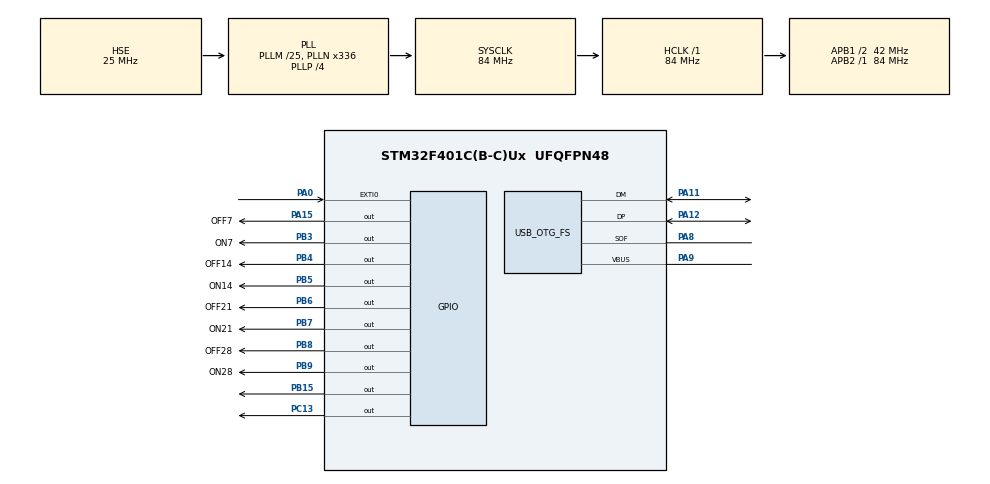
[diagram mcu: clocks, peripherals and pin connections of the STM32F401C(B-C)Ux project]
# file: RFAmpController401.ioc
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Mcu.Family=STM32F4
Mcu.Name=STM32F401C(B-C)Ux
Mcu.Package=UFQFPN48
NVIC.EXTI0_IRQn=true\:0\:0\:false\:false\:true\:true\:true\:true
NVIC.OTG_FS_IRQn=true\:0\:0\:false\:false\:true\:false\:true\:true
NVIC.PriorityGroup=NVIC_PRIORITYGROUP_4
PA0-WKUP.GPIO_PuPd=GPIO_PULLUP
PA0-WKUP.Signal=GPXTI0
PA11.Mode=Host_Only
PA11.Signal=USB_OTG_FS_DM
PA12.Mode=Host_Only
PA12.Signal=USB_OTG_FS_DP
PA13.Mode=Serial_Wire
PA13.Signal=SYS_JTMS-SWDIO
PA14.Mode=Serial_Wire
PA14.Signal=SYS_JTCK-SWCLK
PA15.GPIO_Label=OFF7
PA15.Signal=GPIO_Output
PA8.Mode=Activate_SOF_FS
PA8.Signal=USB_OTG_FS_SOF
PA9.Mode=Activate_VBUS
PA9.Signal=USB_OTG_FS_VBUS
PB15.Signal=GPIO_Output
PB3.GPIO_Label=ON7
PB3.Signal=GPIO_Output
PB4.GPIO_Label=OFF14
PB4.Signal=GPIO_Output
PB5.GPIO_Label=ON14
PB5.Signal=GPIO_Output
PB6.GPIO_Label=OFF21
PB6.Signal=GPIO_Output
PB7.GPIO_Label=ON21
PB7.Signal=GPIO_Output
PB8.GPIO_Label=OFF28
PB8.Signal=GPIO_Output
PB9.GPIO_Label=ON28
PB9.Signal=GPIO_Output
PC13-ANTI_TAMP.Signal=GPIO_Output
PC14-OSC32_IN.Mode=LSE-External-Oscillator
PC14-OSC32_IN.Signal=RCC_OSC32_IN
PC15-OSC32_OUT.Mode=LSE-External-Oscillator
PC15-OSC32_OUT.Signal=RCC_OSC32_OUT
PH0\ -\ OSC_IN.Mode=HSE-External-Oscillator
PH0\ -\ OSC_IN.Signal=RCC_OSC_IN
PH1\ -\ OSC_OUT.Mode=HSE-External-Oscillator
PH1\ -\ OSC_OUT.Signal=RCC_OSC_OUT
ProjectManager.HeapSize=0x200
ProjectManager.StackSize=0x400
ProjectManager.TargetToolchain=STM32CubeIDE
RCC.48MHZClocksFreq_Value=48000000
RCC.AHBFreq_Value=84000000
RCC.APB1CLKDivider=RCC_HCLK_DIV2
RCC.APB1Freq_Value=42000000
RCC.APB1TimFreq_Value=84000000
RCC.APB2Freq_Value=84000000
RCC.APB2TimFreq_Value=84000000
RCC.CortexFreq_Value=84000000
RCC.HCLKFreq_Value=84000000
RCC.HSE_VALUE=25000000
RCC.HSI_VALUE=16000000
RCC.PLLM=25
RCC.PLLN=336
RCC.PLLP=RCC_PLLP_DIV4
RCC.PLLQ=7
RCC.SYSCLKFreq_VALUE=84000000
RCC.SYSCLKSource=RCC_SYSCLKSOURCE_PLLCLK
RCC.VCOOutputFreq_Value=336000000
USB_HOST.SW_VBUS_DRIVE_CDC_FS=true
USB_HOST.USBH_DEBUG_LEVEL=0
USB_HOST.USBH_HandleTypeDef=hUsbHostFS
USB_HOST.VirtualModeFS=Cdc
USB_OTG_FS.Sof_enable=ENABLE
USB_OTG_FS.VirtualMode=Host_Only
USB_OTG_FS.phy_itface=HCD_PHY_EMBEDDED
USB_OTG_FS.speed=HCD_SPEED_FULL
VP_USB_HOST_VS_USB_HOST_CDC_FS.Mode=CDC_FS
board=custom

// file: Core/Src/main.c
/* USER CODE BEGIN Header */
/**
  ******************************************************************************
  * @file           : main.c
  * @brief          : Main program body
  ******************************************************************************
  * @attention
  *
  * Copyright (c) 2026 STMicroelectronics.
  * All rights reserved.
  *
  * This software is licensed under terms that can be found in the LICENSE file
  * in the root directory of this software component.
  * If no LICENSE file comes with this software, it is provided AS-IS.
  *
  ******************************************************************************
  */
/* USER CODE END Header */
#include "main.h"
#include "usb_host.h"

/* USER CODE BEGIN Includes */
#include "string.h"
#include "usbh_cdc.h"
#include <stdbool.h>
#include "stdio.h"
#include "usbh_conf.h"
/* USER CODE END Includes */

void SystemClock_Config(void);
static void MX_GPIO_Init(void);
void MX_USB_HOST_Process(void);

/* USER CODE BEGIN 0 */
extern USBH_HandleTypeDef hUsbHostFS;
extern ApplicationTypeDef Appli_state;
CDC_LineCodingTypeDef LineCoding;

const uint16_t chnum=64;
uint8_t CDC_RX_Buffer[5]={0};
uint8_t CDC_TX_Buffer[64];
uint8_t usbresult;
uint8_t sendresult;
uint16_t j =0;
uint8_t CDC_RX_Buffer_Compare[64];
char CDC_RX_Data[2048];
bool flag=0;

typedef enum CDCState {
  CDC_STATE_IDLE = 0,
  CDC_SEND,
  CDC_RECEIVE,
}  CDC_StateTypedef;
CDC_StateTypedef CDC_STATE = CDC_STATE_IDLE;
uint8_t i=0;

void RelaySet(int* Band)//relék beállítása
{
switch(*Band)
	{
	case(7):{
		HAL_GPIO_WritePin(OFF14_GPIO_Port, OFF14_Pin, 1);
		HAL_GPIO_WritePin(OFF21_GPIO_Port, OFF21_Pin, 1);
		HAL_GPIO_WritePin(OFF28_GPIO_Port, OFF28_Pin, 1);
		HAL_GPIO_WritePin(ON7_GPIO_Port, ON7_Pin, 1);
		HAL_Delay(500);
		break;
		}
	case(14):{
		HAL_GPIO_WritePin(OFF7_GPIO_Port, OFF7_Pin, 1);
		HAL_GPIO_WritePin(OFF21_GPIO_Port, OFF21_Pin, 1);
		HAL_GPIO_WritePin(OFF28_GPIO_Port, OFF28_Pin, 1);
		HAL_GPIO_WritePin(ON14_GPIO_Port, ON14_Pin, 1);
		HAL_Delay(500);
		break;
		}
	case(21):{
		HAL_GPIO_WritePin(OFF14_GPIO_Port, OFF14_Pin, 1);
		HAL_GPIO_WritePin(OFF7_GPIO_Port, OFF7_Pin, 1);
		HAL_GPIO_WritePin(OFF28_GPIO_Port, OFF28_Pin, 1);
		HAL_GPIO_WritePin(ON21_GPIO_Port, ON21_Pin, 1);
		HAL_Delay(500);
		break;
		}
	case(28):{
		HAL_GPIO_WritePin(OFF14_GPIO_Port, OFF14_Pin, 1);
		HAL_GPIO_WritePin(OFF21_GPIO_Port, OFF21_Pin, 1);
		HAL_GPIO_WritePin(OFF7_GPIO_Port, OFF7_Pin, 1);
		HAL_GPIO_WritePin(ON28_GPIO_Port, ON28_Pin, 1);
		HAL_Delay(500);
		break;
		}

	}
}
void RelayOff(void)
{
	HAL_GPIO_WritePin(OFF7_GPIO_Port, OFF7_Pin, 0);
	HAL_GPIO_WritePin(ON7_GPIO_Port, ON7_Pin, 0);
	HAL_GPIO_WritePin(OFF14_GPIO_Port, OFF14_Pin, 0);
	HAL_GPIO_WritePin(ON14_GPIO_Port, ON14_Pin, 0);
	HAL_GPIO_WritePin(ON21_GPIO_Port, ON21_Pin, 0);
	HAL_GPIO_WritePin(OFF21_GPIO_Port, OFF21_Pin, 0);
	HAL_GPIO_WritePin(ON28_GPIO_Port, ON28_Pin, 0);
	HAL_GPIO_WritePin(OFF28_GPIO_Port, OFF28_Pin, 0);

}

uint8_t int_to_bcd(uint8_t value)
{
    return ((value / 10) << 4) | (value % 10);
}
int bcd_to_int(uint8_t bcd)
{
    return ((bcd >> 4) * 10) + (bcd & 0x0F);
}

void CDC_HANDLE (void)
{

	switch (CDC_STATE)
	{
	case CDC_STATE_IDLE:
	{
		  USBH_CDC_Stop(&hUsbHostFS);
		  if (flag==1){
			  CDC_STATE = CDC_SEND;
		//  }else{
		//	  CDC_STATE = CDC_RECEIVE;
		  }

HAL_Delay(500);
		  break;
	}

	case CDC_RECEIVE:
	{
		  USBH_CDC_Stop(&hUsbHostFS);
		  usbresult = USBH_CDC_Receive(&hUsbHostFS, (uint8_t *) CDC_RX_Buffer, 5);
		  uint8_t INT[5];
		  char buf[10];
		  for(int p=0;p<5;p++){
		  INT[p]=bcd_to_int(CDC_RX_Buffer[p]);//konvertálás
		  }
		  sprintf(buf, " %d%d%d%d\r\n", INT[0],INT[1],INT[2],INT[3]);//itt elhagyjuk a 3-ast és szépen összefűzzük a bullshit számokat egybe
		  int number = atoi(buf);//ez lesz amiből feltételt képzünk, és itt már egy számunk van ami a freki
//		  HAL_UART_Transmit(&huart3,(uint8_t *)buf, strlen(buf), 100);// ki a pc felé

		  if (number<72000)RelaySet((int*)7);
		  if (number>72000 && number<144000)RelaySet((int*)14);
		  if (number>144000 && number<220000)RelaySet((int*)21);
		  if (number>220000)RelaySet((int*)28);
		  RelayOff();

		  if (flag==1){
			  CDC_STATE = CDC_SEND;
		  }else{
			  CDC_STATE = CDC_STATE_IDLE;
		  }
		  break;
	}
	case CDC_SEND:
	{
		USBH_CDC_Stop(&hUsbHostFS);
		HAL_Delay (500);
	//	int len = sprintf ((char *)CDC_TX_Buffer, "data\r");
	//	USBH_CDC_Transmit (&hUsbHostFS, CDC_TX_Buffer, len);
		CDC_TX_Buffer[0]=0;
		CDC_TX_Buffer[1]=0;
		CDC_TX_Buffer[2]=0;
		CDC_TX_Buffer[3]=0;
		CDC_TX_Buffer[4]=3;
		USBH_CDC_Transmit (&hUsbHostFS, CDC_TX_Buffer, 5);
		HAL_Delay (100);
	//	for (j=0; j<64; j++){CDC_RX_Buffer[j]=0;}
		CDC_STATE = CDC_RECEIVE;
		flag=0;
	default:
		break;
	}
	}
}
/* USER CODE END 0 */

int main(void)
{

  /* MCU Configuration--------------------------------------------------------*/

  /* Reset of all peripherals, Initializes the Flash interface and the Systick. */
  HAL_Init();

  /* Configure the system clock */
  SystemClock_Config();

  /* Initialize all configured peripherals */
  MX_GPIO_Init();
  MX_USB_HOST_Init();
  /* USER CODE BEGIN 2 */
  printf("Hello ITM \n");
  flag=1;//initial reading
  /* USER CODE END 2 */

  /* Infinite loop */
  /* USER CODE BEGIN WHILE */
  while (1)
  {
	  HAL_Delay(50);
	  HAL_GPIO_TogglePin(GPIOC, GPIO_PIN_13);
      if (hUsbHostFS.pActiveClass->Init == USBH_OK){HAL_Delay(500);}//ha csatlakoztunk, akkor csak 500ms enként olvassunk
	  flag=1;//continous reading
	  MX_USB_HOST_Process();
	  if (Appli_state == APPLICATION_READY)
	    {
	    	CDC_HANDLE();
	    }
    /* USER CODE END WHILE */
    MX_USB_HOST_Process();

  }
}

void SystemClock_Config(void)
{
  RCC_OscInitTypeDef RCC_OscInitStruct = {0};
  RCC_ClkInitTypeDef RCC_ClkInitStruct = {0};

  /** Configure the main internal regulator output voltage
  */
  __HAL_RCC_PWR_CLK_ENABLE();
  __HAL_PWR_VOLTAGESCALING_CONFIG(PWR_REGULATOR_VOLTAGE_SCALE2);

  /** Initializes the RCC Oscillators according to the specified parameters
  * in the RCC_OscInitTypeDef structure.
  */
  RCC_OscInitStruct.OscillatorType = RCC_OSCILLATORTYPE_HSE;
  RCC_OscInitStruct.HSEState = RCC_HSE_ON;
  RCC_OscInitStruct.PLL.PLLState = RCC_PLL_ON;
  RCC_OscInitStruct.PLL.PLLSource = RCC_PLLSOURCE_HSE;
  RCC_OscInitStruct.PLL.PLLM = 25;
  RCC_OscInitStruct.PLL.PLLN = 336;
  RCC_OscInitStruct.PLL.PLLP = RCC_PLLP_DIV4;
  RCC_OscInitStruct.PLL.PLLQ = 7;
  if (HAL_RCC_OscConfig(&RCC_OscInitStruct) != HAL_OK)
  {
    Error_Handler();
  }

  /** Initializes the CPU, AHB and APB buses clocks
  */
  RCC_ClkInitStruct.ClockType = RCC_CLOCKTYPE_HCLK|RCC_CLOCKTYPE_SYSCLK
                              |RCC_CLOCKTYPE_PCLK1|RCC_CLOCKTYPE_PCLK2;
  RCC_ClkInitStruct.SYSCLKSource = RCC_SYSCLKSOURCE_PLLCLK;
  RCC_ClkInitStruct.AHBCLKDivider = RCC_SYSCLK_DIV1;
  RCC_ClkInitStruct.APB1CLKDivider = RCC_HCLK_DIV2;
  RCC_ClkInitStruct.APB2CLKDivider = RCC_HCLK_DIV1;

  if (HAL_RCC_ClockConfig(&RCC_ClkInitStruct, FLASH_LATENCY_2) != HAL_OK)
  {
    Error_Handler();
  }
}

static void MX_GPIO_Init(void)
{
  GPIO_InitTypeDef GPIO_InitStruct = {0};

  /* GPIO Ports Clock Enable */
  __HAL_RCC_GPIOC_CLK_ENABLE();
  __HAL_RCC_GPIOH_CLK_ENABLE();
  __HAL_RCC_GPIOA_CLK_ENABLE();
  __HAL_RCC_GPIOB_CLK_ENABLE();

  /*Configure GPIO pin Output Level */
  HAL_GPIO_WritePin(GPIOC, GPIO_PIN_13, GPIO_PIN_RESET);

  /*Configure GPIO pin Output Level */
  HAL_GPIO_WritePin(GPIOB, GPIO_PIN_15|ON7_Pin|OFF14_Pin|ON14_Pin
                          |OFF21_Pin|ON21_Pin|OFF28_Pin|ON28_Pin, GPIO_PIN_RESET);

  /*Configure GPIO pin Output Level */
  HAL_GPIO_WritePin(OFF7_GPIO_Port, OFF7_Pin, GPIO_PIN_RESET);

  /*Configure GPIO pin : PC13 */
  GPIO_InitStruct.Pin = GPIO_PIN_13;
  GPIO_InitStruct.Mode = GPIO_MODE_OUTPUT_PP;
  GPIO_InitStruct.Pull = GPIO_NOPULL;
  GPIO_InitStruct.Speed = GPIO_SPEED_FREQ_LOW;
  HAL_GPIO_Init(GPIOC, &GPIO_InitStruct);

  /*Configure GPIO pin : PA0 */
  GPIO_InitStruct.Pin = GPIO_PIN_0;
  GPIO_InitStruct.Mode = GPIO_MODE_IT_RISING;
  GPIO_InitStruct.Pull = GPIO_PULLUP;
  HAL_GPIO_Init(GPIOA, &GPIO_InitStruct);

  /*Configure GPIO pins : PB15 ON7_Pin OFF14_Pin ON14_Pin
                           OFF21_Pin ON21_Pin OFF28_Pin ON28_Pin */
  GPIO_InitStruct.Pin = GPIO_PIN_15|ON7_Pin|OFF14_Pin|ON14_Pin
                          |OFF21_Pin|ON21_Pin|OFF28_Pin|ON28_Pin;
  GPIO_InitStruct.Mode = GPIO_MODE_OUTPUT_PP;
  GPIO_InitStruct.Pull = GPIO_NOPULL;
  GPIO_InitStruct.Speed = GPIO_SPEED_FREQ_LOW;
  HAL_GPIO_Init(GPIOB, &GPIO_InitStruct);

  /*Configure GPIO pin : OFF7_Pin */
  GPIO_InitStruct.Pin = OFF7_Pin;
  GPIO_InitStruct.Mode = GPIO_MODE_OUTPUT_PP;
  GPIO_InitStruct.Pull = GPIO_NOPULL;
  GPIO_InitStruct.Speed = GPIO_SPEED_FREQ_LOW;
  HAL_GPIO_Init(OFF7_GPIO_Port, &GPIO_InitStruct);

  /* EXTI interrupt init*/
  HAL_NVIC_SetPriority(EXTI0_IRQn, 0, 0);
  HAL_NVIC_EnableIRQ(EXTI0_IRQn);

}

/* USER CODE BEGIN 4 */
void HAL_GPIO_EXTI_Callback(uint16_t GPIO_Pin)
{//gomb

  if(GPIO_Pin == GPIO_PIN_0) {
	  flag=1;
	 // CDC_STATE = CDC_SEND;

  }}
__attribute__((weak)) int _write(int file, char *ptr, int len)
{
  (void)file;
  int DataIdx;

  for (DataIdx = 0; DataIdx < len; DataIdx++)
  {
    ITM_SendChar(*ptr++);
  }
  return len;
}

/* USER CODE END 4 */

void Error_Handler(void)
{
  __disable_irq();
  while (1)
  {
  }
}
